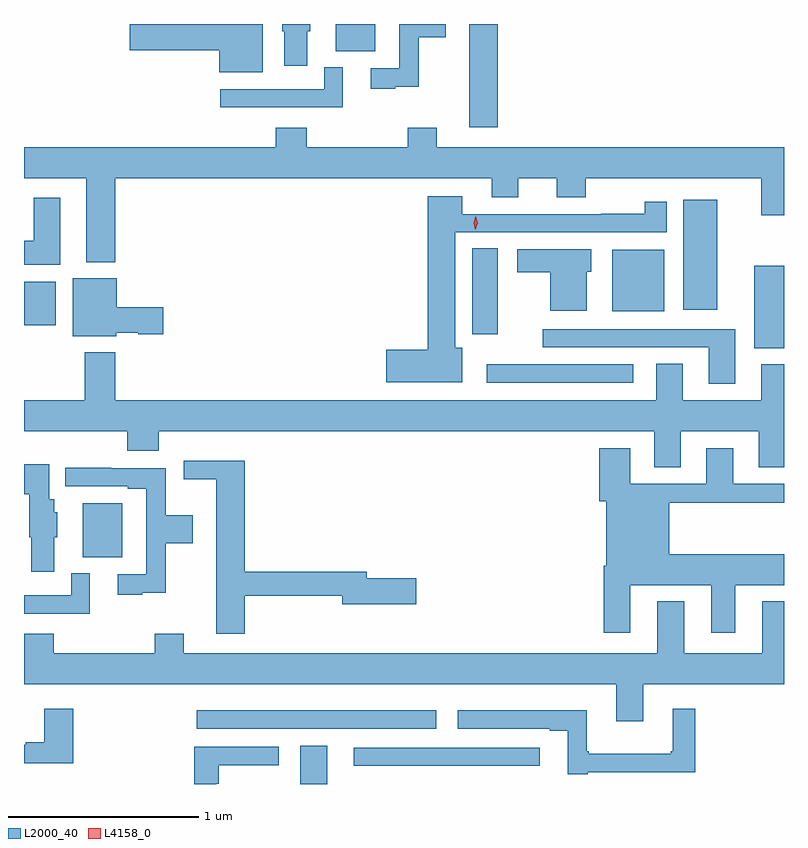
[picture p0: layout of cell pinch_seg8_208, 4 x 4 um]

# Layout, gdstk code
import gdstk
lib = gdstk.Library(unit=1e-6, precision=1e-09)
def R(c, l, rs):  # rectangles x0, y0, x1, y1
    for r in rs: c.add(gdstk.rectangle(r[:2], r[2:], *l))
def P(c, l, *ps):  # polygons
    for p in ps: c.add(gdstk.Polygon(p, *l))
L2000_40 = (2000, 40)
L4158_0 = (4158, 0)

pinch_seg8_208 = lib.new_cell('pinch_seg8_208')
R(pinch_seg8_208, L2000_40, [(676.388,1102.656,676.531,1102.858), (676.671,1102.751,677.65,1102.848), (675.843,1102.947,677.104,1103.044), (675.245,1103.849,675.451,1104.133), (677.37,1104.768,678.142,1104.864), (678.779,1104.95,678.935,1105.384), (677.294,1105.023,677.428,1105.475), (674.935,1105.07,675.103,1105.3), (678.032,1105.145,678.304,1105.468), (678.404,1105.151,678.583,1105.732), (677.279,1106.112,677.429,1106.656), (676.577,1106.513,676.783,1106.656)])
P(pinch_seg8_208, L2000_40, [(676.889,1106.327),(677.012,1106.327),(677.012,1106.587),(677.155,1106.587),(677.155,1106.656),(676.911,1106.656),(676.911,1106.424),(676.761,1106.424),(676.761,1106.316),(676.889,1106.316)],
  [(676.192,1106.656),(675.492,1106.656),(675.492,1106.519),(675.962,1106.519),(675.962,1106.402),(676.192,1106.402)],
  [(676.426,1106.619),(676.441,1106.619),(676.441,1106.656),(676.295,1106.656),(676.295,1106.619),(676.304,1106.619),(676.304,1106.436),(676.426,1106.436)],
  [(676.612,1106.428),(676.515,1106.428),(676.515,1106.313),(675.969,1106.313),(675.969,1106.217),(676.612,1106.217)],
  [(677.107,1106.11),(676.955,1106.11),(676.955,1106.008),(676.424,1106.008),(676.424,1106.11),(676.259,1106.11),(676.259,1106.008),(674.935,1106.008),(674.935,1105.844),(675.263,1105.844),(675.263,1105.403),(675.416,1105.403),(675.416,1105.844),(677.396,1105.844),(677.396,1105.745),(677.536,1105.745),(677.536,1105.844),(677.738,1105.844),(677.738,1105.745),(677.891,1105.745),(677.891,1105.844),(678.815,1105.844),(678.815,1105.65),(678.935,1105.65),(678.935,1106.008),(677.107,1106.008)],
  [(677.242,1104.952),(677.206,1104.952),(677.206,1105.56),(678.319,1105.56),(678.319,1105.72),(678.202,1105.72),(678.202,1105.658),(677.974,1105.658),(677.974,1105.656),(677.242,1105.656),(677.242,1105.75),(677.06,1105.75),(677.06,1104.941),(676.842,1104.941),(676.842,1104.77),(677.242,1104.77)],
  [(675.127,1105.741),(674.987,1105.741),(674.987,1105.516),(674.935,1105.516),(674.935,1105.388),(675.127,1105.388)],
  [(677.896,1105.353),(677.92,1105.353),(677.92,1105.471),(677.532,1105.471),(677.532,1105.349),(677.705,1105.349),(677.705,1105.148),(677.896,1105.148)],
  [(675.42,1105.031),(675.537,1105.031),(675.537,1105.024),(675.667,1105.024),(675.667,1105.166),(675.424,1105.166),(675.424,1105.318),(675.191,1105.318),(675.191,1105.013),(675.42,1105.013)],
  [(678.679,1105.05),(677.664,1105.05),(677.664,1104.954),(678.539,1104.954),(678.539,1104.762),(678.679,1104.762)],
  [(675.479,1104.41),(675.644,1104.41),(675.644,1104.512),(678.251,1104.512),(678.251,1104.322),(678.391,1104.322),(678.391,1104.512),(678.803,1104.512),(678.803,1104.322),(678.935,1104.322),(678.935,1104.865),(678.815,1104.865),(678.815,1104.676),(678.403,1104.676),(678.403,1104.869),(678.263,1104.869),(678.263,1104.676),(675.416,1104.676),(675.416,1104.928),(675.256,1104.928),(675.256,1104.676),(674.935,1104.676),(674.935,1104.512),(675.479,1104.512)],
  [(678.127,1103.702),(678.551,1103.702),(678.551,1103.451),(678.679,1103.451),(678.679,1103.702),(678.935,1103.702),(678.935,1103.866),(678.331,1103.866),(678.331,1104.136),(678.935,1104.136),(678.935,1104.237),(678.667,1104.237),(678.667,1104.424),(678.527,1104.424),(678.527,1104.237),(678.127,1104.237),(678.127,1104.424),(677.963,1104.424),(677.963,1104.144),(677.999,1104.144),(677.999,1103.806),(677.987,1103.806),(677.987,1103.451),(678.127,1103.451)],
  [(676.097,1103.646),(676.61,1103.646),(676.61,1103.603),(676.999,1103.603),(676.999,1103.738),(676.738,1103.738),(676.738,1103.774),(676.097,1103.774),(676.097,1104.358),(675.777,1104.358),(675.777,1104.26),(675.947,1104.26),(675.947,1103.448),(676.097,1103.448)],
  [(675.094,1103.955),(675.109,1103.955),(675.109,1104.087),(675.094,1104.087),(675.094,1104.156),(675.067,1104.156),(675.067,1104.34),(674.935,1104.34),(674.935,1104.182),(674.963,1104.182),(674.963,1103.955),(674.972,1103.955),(674.972,1103.772),(675.094,1103.772)],
  [(675.557,1103.663),(675.68,1103.663),(675.68,1103.923),(675.823,1103.923),(675.823,1104.07),(675.68,1104.07),(675.68,1104.318),(675.395,1104.318),(675.395,1104.32),(675.153,1104.32),(675.153,1104.222),(675.482,1104.222),(675.482,1104.21),(675.579,1104.21),(675.579,1103.76),(675.429,1103.76),(675.429,1103.652),(675.557,1103.652)],
  [(675.28,1103.764),(675.183,1103.764),(675.183,1103.649),(674.935,1103.649),(674.935,1103.553),(675.28,1103.553)],
  [(678.053,1102.986),(678.193,1102.986),(678.193,1103.18),(678.935,1103.18),(678.935,1103.617),(678.821,1103.617),(678.821,1103.344),(678.409,1103.344),(678.409,1103.617),(678.269,1103.617),(678.269,1103.344),(675.775,1103.344),(675.775,1103.446),(675.623,1103.446),(675.623,1103.344),(675.092,1103.344),(675.092,1103.446),(674.935,1103.446),(674.935,1103.18),(678.053,1103.18)],
  [(677.902,1102.718),(678.467,1102.718),(678.467,1103.053),(678.35,1103.053),(678.35,1102.828),(678.339,1102.828),(678.339,1102.816),(677.908,1102.816),(677.908,1102.828),(677.896,1102.828),(677.896,1103.044),(677.217,1103.044),(677.217,1102.947),(677.702,1102.947),(677.702,1102.935),(677.798,1102.935),(677.798,1102.707),(677.902,1102.707)],
  [(675.194,1103.053),(675.041,1103.053),(675.041,1102.876),(674.945,1102.876),(674.945,1102.863),(674.935,1102.863),(674.935,1102.766),(675.194,1102.766)],
  [(675.948,1102.658),(675.961,1102.658),(675.961,1102.754),(676.276,1102.754),(676.276,1102.851),(675.832,1102.851),(675.832,1102.656),(675.948,1102.656)])
P(pinch_seg8_208, L4158_0, [(677.311,1105.572),(677.311,1105.573),(677.302,1105.609),(677.312,1105.645),(677.313,1105.645),(677.313,1105.645),(677.322,1105.608),(677.311,1105.573)])

lib.write_gds('pinch_seg8_208.gds')
